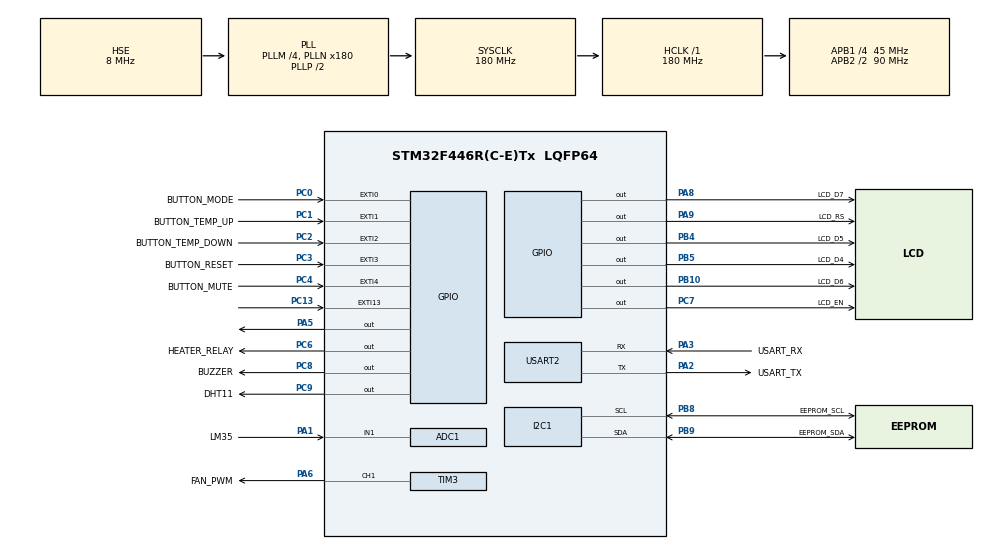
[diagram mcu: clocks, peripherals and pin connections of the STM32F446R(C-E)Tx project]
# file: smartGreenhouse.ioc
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ADC1.Channel-0\#ChannelRegularConversion=ADC_CHANNEL_1
ADC1.ContinuousConvMode=DISABLE
ADC1.DMAContinuousRequests=ENABLE
ADC1.ExternalTrigConv=ADC_EXTERNALTRIGCONV_T2_TRGO
ADC1.NbrOfConversion=1
ADC1.NbrOfConversionFlag=1
ADC1.Rank-0\#ChannelRegularConversion=1
ADC1.SamplingTime-0\#ChannelRegularConversion=ADC_SAMPLETIME_84CYCLES
ADC1.master=1
Dma.ADC1.0.Direction=DMA_PERIPH_TO_MEMORY
Dma.ADC1.0.FIFOMode=DMA_FIFOMODE_DISABLE
Dma.ADC1.0.Instance=DMA2_Stream0
Dma.ADC1.0.MemDataAlignment=DMA_MDATAALIGN_HALFWORD
Dma.ADC1.0.MemInc=DMA_MINC_ENABLE
Dma.ADC1.0.Mode=DMA_CIRCULAR
Dma.ADC1.0.PeriphDataAlignment=DMA_PDATAALIGN_HALFWORD
Dma.ADC1.0.PeriphInc=DMA_PINC_DISABLE
Dma.ADC1.0.Priority=DMA_PRIORITY_LOW
Dma.Request0=ADC1
Dma.Request1=USART2_RX
Dma.USART2_RX.1.Direction=DMA_PERIPH_TO_MEMORY
Dma.USART2_RX.1.FIFOMode=DMA_FIFOMODE_DISABLE
Dma.USART2_RX.1.Instance=DMA1_Stream5
Dma.USART2_RX.1.MemDataAlignment=DMA_MDATAALIGN_BYTE
Dma.USART2_RX.1.MemInc=DMA_MINC_ENABLE
Dma.USART2_RX.1.Mode=DMA_NORMAL
Dma.USART2_RX.1.PeriphDataAlignment=DMA_PDATAALIGN_BYTE
Dma.USART2_RX.1.PeriphInc=DMA_PINC_DISABLE
Dma.USART2_RX.1.Priority=DMA_PRIORITY_LOW
Mcu.Family=STM32F4
Mcu.Name=STM32F446R(C-E)Tx
Mcu.Package=LQFP64
NUCLEO-F446RE.BUTTON=1
NUCLEO-F446RE.LD1=true
NVIC.DMA1_Stream5_IRQn=true\:0\:0\:false\:false\:true\:false\:true\:true
NVIC.DMA2_Stream0_IRQn=true\:0\:0\:false\:false\:true\:false\:true\:true
NVIC.EXTI0_IRQn=true\:0\:0\:false\:false\:true\:true\:true\:true
NVIC.EXTI15_10_IRQn=true\:0\:0\:false\:false\:true\:false\:true\:true
NVIC.EXTI1_IRQn=true\:0\:0\:false\:false\:true\:true\:true\:true
NVIC.EXTI2_IRQn=true\:0\:0\:false\:false\:true\:true\:true\:true
NVIC.EXTI3_IRQn=true\:0\:0\:false\:false\:true\:true\:true\:true
NVIC.EXTI4_IRQn=true\:0\:0\:false\:false\:true\:true\:true\:true
NVIC.PriorityGroup=NVIC_PRIORITYGROUP_0
NVIC.USART2_IRQn=true\:0\:0\:false\:false\:true\:true\:true\:true
PA1.GPIO_Label=LM35
PA1.Signal=ADCx_IN1
PA13.GPIO_Label=TMS
PA13.Mode=Serial_Wire
PA13.Signal=SYS_JTMS-SWDIO
PA14.GPIO_Label=TCK
PA14.Mode=Serial_Wire
PA14.Signal=SYS_JTCK-SWCLK
PA2.GPIO_Label=USART_TX
PA2.Mode=Asynchronous
PA2.Signal=USART2_TX
PA3.GPIO_Label=USART_RX
PA3.Mode=Asynchronous
PA3.Signal=USART2_RX
PA5.Signal=GPIO_Output
PA6.GPIO_Label=FAN_PWM
PA6.Signal=S_TIM3_CH1
PA8.GPIO_Label=LCD_D7
PA8.Signal=GPIO_Output
PA9.GPIO_Label=LCD_RS
PA9.Signal=GPIO_Output
PB10.GPIO_Label=LCD_D6
PB10.Signal=GPIO_Output
PB3.GPIO_Label=SWO
PB3.Signal=SYS_JTDO-SWO
PB4.GPIO_Label=LCD_D5
PB4.Signal=GPIO_Output
PB5.GPIO_Label=LCD_D4
PB5.Signal=GPIO_Output
PB8.GPIO_Label=EEPROM_SCL
PB8.Mode=I2C
PB8.Signal=I2C1_SCL
PB9.GPIO_Label=EEPROM_SDA
PB9.Mode=I2C
PB9.Signal=I2C1_SDA
PC0.GPIO_Label=BUTTON_MODE
PC0.GPIO_ModeDefaultEXTI=GPIO_MODE_IT_FALLING
PC0.GPIO_PuPd=GPIO_PULLUP
PC0.Signal=GPXTI0
PC1.GPIO_Label=BUTTON_TEMP_UP
PC1.GPIO_ModeDefaultEXTI=GPIO_MODE_IT_FALLING
PC1.GPIO_PuPd=GPIO_PULLUP
PC1.Signal=GPXTI1
PC13.Signal=GPXTI13
PC14-OSC32_IN.Mode=LSE-External-Oscillator
PC14-OSC32_IN.Signal=RCC_OSC32_IN
PC15-OSC32_OUT.Mode=LSE-External-Oscillator
PC15-OSC32_OUT.Signal=RCC_OSC32_OUT
PC2.GPIO_Label=BUTTON_TEMP_DOWN
PC2.GPIO_ModeDefaultEXTI=GPIO_MODE_IT_FALLING
PC2.GPIO_PuPd=GPIO_PULLUP
PC2.Signal=GPXTI2
PC3.GPIO_Label=BUTTON_RESET
PC3.GPIO_ModeDefaultEXTI=GPIO_MODE_IT_FALLING
PC3.GPIO_PuPd=GPIO_PULLUP
PC3.Signal=GPXTI3
PC4.GPIO_Label=BUTTON_MUTE
PC4.GPIO_ModeDefaultEXTI=GPIO_MODE_IT_FALLING
PC4.GPIO_PuPd=GPIO_PULLUP
PC4.Signal=GPXTI4
PC6.GPIO_Label=HEATER_RELAY
PC6.PinState=GPIO_PIN_SET
PC6.Signal=GPIO_Output
PC7.GPIO_Label=LCD_EN
PC7.Signal=GPIO_Output
PC8.GPIO_Label=BUZZER
PC8.GPIO_PuPd=GPIO_PULLUP
PC8.Signal=GPIO_Output
PC9.GPIO_Label=DHT11
PC9.GPIO_PuPd=GPIO_PULLUP
PC9.Signal=GPIO_Output
PH0-OSC_IN.Mode=HSE-External-Oscillator
PH0-OSC_IN.Signal=RCC_OSC_IN
PH1-OSC_OUT.Mode=HSE-External-Oscillator
PH1-OSC_OUT.Signal=RCC_OSC_OUT
ProjectManager.HeapSize=0x200
ProjectManager.StackSize=0x400
ProjectManager.TargetToolchain=CMake
RCC.AHBFreq_Value=180000000
RCC.APB1CLKDivider=RCC_HCLK_DIV4
RCC.APB1Freq_Value=45000000
RCC.APB1TimFreq_Value=90000000
RCC.APB2CLKDivider=RCC_HCLK_DIV2
RCC.APB2Freq_Value=90000000
RCC.APB2TimFreq_Value=180000000
RCC.CortexFreq_Value=180000000
RCC.FLatency-AdvancedSettings=FLASH_LATENCY_5
RCC.HCLKFreq_Value=180000000
RCC.HSE_VALUE=8000000
RCC.HSI_VALUE=16000000
RCC.PLLM=4
RCC.PLLN=180
RCC.PLLSourceVirtual=RCC_PLLSOURCE_HSE
RCC.SYSCLKFreq_VALUE=180000000
RCC.SYSCLKSource=RCC_SYSCLKSOURCE_PLLCLK
RCC.USBFreq_Value=180000000
RCC.VCOOutputFreq_Value=360000000
SH.ADCx_IN1.0=ADC1_IN1,IN1
SH.S_TIM3_CH1.0=TIM3_CH1,PWM Generation1 CH1
TIM2.Period=99
TIM2.Prescaler=8999
TIM2.TIM_MasterOutputTrigger=TIM_TRGO_UPDATE
TIM2.TIM_MasterSlaveMode=TIM_MASTERSLAVEMODE_DISABLE
TIM3.Channel-PWM\ Generation1\ CH1=TIM_CHANNEL_1
TIM3.Period=4499
TIM3.Prescaler=299
USART2.VirtualMode=VM_ASYNC
VP_IWDG_VS_IWDG.Mode=IWDG_Activate
VP_NUCLEO-F446RE_VS_BSP_COMMON.Mode=COMMON
VP_TIM2_VS_ClockSourceINT.Mode=Internal
VP_TIM3_VS_ClockSourceINT.Mode=Internal
board=NUCLEO-F446RE

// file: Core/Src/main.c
/* USER CODE BEGIN Header */
/**
  ******************************************************************************
  * @file           : main.c
  * @brief          : Main program body
  ******************************************************************************
  * @attention
  *
  * Copyright (c) 2026 STMicroelectronics.
  * All rights reserved.
  *
  * This software is licensed under terms that can be found in the LICENSE file
  * in the root directory of this software component.
  * If no LICENSE file comes with this software, it is provided AS-IS.
  *
  ******************************************************************************
  */
/* USER CODE END Header */
#include "main.h"

/* USER CODE BEGIN Includes */

#include <stdio.h>
#include <string.h>

#include "app.h"
#include "cli.h"

#include "sensor_lm35.h"
#include "fan.h"
#include "heater.h"
#include "lcd.h"

/* USER CODE END Includes */

ADC_HandleTypeDef hadc1;
DMA_HandleTypeDef hdma_adc1;

I2C_HandleTypeDef hi2c1;

IWDG_HandleTypeDef hiwdg;

TIM_HandleTypeDef htim2;
TIM_HandleTypeDef htim3;

UART_HandleTypeDef huart2;
DMA_HandleTypeDef hdma_usart2_rx;

/* USER CODE BEGIN PV */

volatile uint32_t adc_half_callback_count = 0U;
volatile uint32_t adc_complete_callback_count = 0U;

/* USER CODE END PV */

void SystemClock_Config(void);
static void MX_GPIO_Init(void);
static void MX_DMA_Init(void);
static void MX_ADC1_Init(void);
static void MX_I2C1_Init(void);
static void MX_TIM3_Init(void);
static void MX_USART2_UART_Init(void);
static void MX_TIM2_Init(void);
static void MX_IWDG_Init(void);

int main(void)
{

  /* MCU Configuration--------------------------------------------------------*/

  /* Reset of all peripherals, Initializes the Flash interface and the Systick. */
  HAL_Init();

  /* Configure the system clock */
  SystemClock_Config();

  /* Initialize all configured peripherals */
  MX_GPIO_Init();
  MX_DMA_Init();
  MX_ADC1_Init();
  MX_I2C1_Init();
  MX_TIM3_Init();
  MX_USART2_UART_Init();
  MX_TIM2_Init();
  MX_IWDG_Init();

  /* USER CODE BEGIN 2 */

HAL_StatusTypeDef app_status;

app_status = App_Init(
    &hadc1,
    &htim3,
    &huart2,
    &hiwdg,
    &htim2,
    NULL,
    NULL
);

if (app_status != HAL_OK)
{
    Heater_SafeOff();
    Fan_SafeOff();

    LCD_Clear();
    LCD_SetCursor(0U, 0U);
    LCD_Print("APP INIT ERROR");

    while (1)
    {
    }
}

app_status = App_Start();

if (app_status != HAL_OK)
{
    Heater_SafeOff();
    Fan_SafeOff();

    LCD_Clear();
    LCD_SetCursor(0U, 0U);
    LCD_Print("APP START ERROR");

    while (1)
    {
    }
}

  /* USER CODE END 2 */

  /* Initialize leds */
  BSP_LED_Init(LED2);

  /* Initialize USER push-button, will be used to trigger an interrupt each time it's pressed.*/
  BSP_PB_Init(BUTTON_USER, BUTTON_MODE_EXTI);

  /* Infinite loop */
  /* USER CODE BEGIN WHILE */
  while (1)
  {
    App_Process();

    //HAL_IWDG_Refresh(&hiwdg);

    /* USER CODE END WHILE */

  }
}

void SystemClock_Config(void)
{
  RCC_OscInitTypeDef RCC_OscInitStruct = {0};
  RCC_ClkInitTypeDef RCC_ClkInitStruct = {0};

  /** Configure the main internal regulator output voltage
  */
  __HAL_RCC_PWR_CLK_ENABLE();
  __HAL_PWR_VOLTAGESCALING_CONFIG(PWR_REGULATOR_VOLTAGE_SCALE1);

  /** Initializes the RCC Oscillators according to the specified parameters
  * in the RCC_OscInitTypeDef structure.
  */
  RCC_OscInitStruct.OscillatorType = RCC_OSCILLATORTYPE_LSI|RCC_OSCILLATORTYPE_HSE;
  RCC_OscInitStruct.HSEState = RCC_HSE_ON;
  RCC_OscInitStruct.LSIState = RCC_LSI_ON;
  RCC_OscInitStruct.PLL.PLLState = RCC_PLL_ON;
  RCC_OscInitStruct.PLL.PLLSource = RCC_PLLSOURCE_HSE;
  RCC_OscInitStruct.PLL.PLLM = 4;
  RCC_OscInitStruct.PLL.PLLN = 180;
  RCC_OscInitStruct.PLL.PLLP = RCC_PLLP_DIV2;
  RCC_OscInitStruct.PLL.PLLQ = 2;
  RCC_OscInitStruct.PLL.PLLR = 2;
  if (HAL_RCC_OscConfig(&RCC_OscInitStruct) != HAL_OK)
  {
    Error_Handler();
  }

  /** Activate the Over-Drive mode
  */
  if (HAL_PWREx_EnableOverDrive() != HAL_OK)
  {
    Error_Handler();
  }

  /** Initializes the CPU, AHB and APB buses clocks
  */
  RCC_ClkInitStruct.ClockType = RCC_CLOCKTYPE_HCLK|RCC_CLOCKTYPE_SYSCLK
                              |RCC_CLOCKTYPE_PCLK1|RCC_CLOCKTYPE_PCLK2;
  RCC_ClkInitStruct.SYSCLKSource = RCC_SYSCLKSOURCE_PLLCLK;
  RCC_ClkInitStruct.AHBCLKDivider = RCC_SYSCLK_DIV1;
  RCC_ClkInitStruct.APB1CLKDivider = RCC_HCLK_DIV4;
  RCC_ClkInitStruct.APB2CLKDivider = RCC_HCLK_DIV2;

  if (HAL_RCC_ClockConfig(&RCC_ClkInitStruct, FLASH_LATENCY_5) != HAL_OK)
  {
    Error_Handler();
  }
}

static void MX_ADC1_Init(void)
{

  ADC_ChannelConfTypeDef sConfig = {0};

  /** Configure the global features of the ADC (Clock, Resolution, Data Alignment and number of conversion)
  */
  hadc1.Instance = ADC1;
  hadc1.Init.ClockPrescaler = ADC_CLOCK_SYNC_PCLK_DIV4;
  hadc1.Init.Resolution = ADC_RESOLUTION_12B;
  hadc1.Init.ScanConvMode = DISABLE;
  hadc1.Init.ContinuousConvMode = DISABLE;
  hadc1.Init.DiscontinuousConvMode = DISABLE;
  hadc1.Init.ExternalTrigConvEdge = ADC_EXTERNALTRIGCONVEDGE_RISING;
  hadc1.Init.ExternalTrigConv = ADC_EXTERNALTRIGCONV_T2_TRGO;
  hadc1.Init.DataAlign = ADC_DATAALIGN_RIGHT;
  hadc1.Init.NbrOfConversion = 1;
  hadc1.Init.DMAContinuousRequests = ENABLE;
  hadc1.Init.EOCSelection = ADC_EOC_SINGLE_CONV;
  if (HAL_ADC_Init(&hadc1) != HAL_OK)
  {
    Error_Handler();
  }

  /** Configure for the selected ADC regular channel its corresponding rank in the sequencer and its sample time.
  */
  sConfig.Channel = ADC_CHANNEL_1;
  sConfig.Rank = 1;
  sConfig.SamplingTime = ADC_SAMPLETIME_84CYCLES;
  if (HAL_ADC_ConfigChannel(&hadc1, &sConfig) != HAL_OK)
  {
    Error_Handler();
  }

}

static void MX_I2C1_Init(void)
{

  hi2c1.Instance = I2C1;
  hi2c1.Init.ClockSpeed = 100000;
  hi2c1.Init.DutyCycle = I2C_DUTYCYCLE_2;
  hi2c1.Init.OwnAddress1 = 0;
  hi2c1.Init.AddressingMode = I2C_ADDRESSINGMODE_7BIT;
  hi2c1.Init.DualAddressMode = I2C_DUALADDRESS_DISABLE;
  hi2c1.Init.OwnAddress2 = 0;
  hi2c1.Init.GeneralCallMode = I2C_GENERALCALL_DISABLE;
  hi2c1.Init.NoStretchMode = I2C_NOSTRETCH_DISABLE;
  if (HAL_I2C_Init(&hi2c1) != HAL_OK)
  {
    Error_Handler();
  }

}

static void MX_IWDG_Init(void)
{

  hiwdg.Instance = IWDG;
  hiwdg.Init.Prescaler = IWDG_PRESCALER_4;
  hiwdg.Init.Reload = 4095;
  if (HAL_IWDG_Init(&hiwdg) != HAL_OK)
  {
    Error_Handler();
  }

}

static void MX_TIM2_Init(void)
{

  TIM_ClockConfigTypeDef sClockSourceConfig = {0};
  TIM_MasterConfigTypeDef sMasterConfig = {0};

  htim2.Instance = TIM2;
  htim2.Init.Prescaler = 8999;
  htim2.Init.CounterMode = TIM_COUNTERMODE_UP;
  htim2.Init.Period = 99;
  htim2.Init.ClockDivision = TIM_CLOCKDIVISION_DIV1;
  htim2.Init.AutoReloadPreload = TIM_AUTORELOAD_PRELOAD_DISABLE;
  if (HAL_TIM_Base_Init(&htim2) != HAL_OK)
  {
    Error_Handler();
  }
  sClockSourceConfig.ClockSource = TIM_CLOCKSOURCE_INTERNAL;
  if (HAL_TIM_ConfigClockSource(&htim2, &sClockSourceConfig) != HAL_OK)
  {
    Error_Handler();
  }
  sMasterConfig.MasterOutputTrigger = TIM_TRGO_UPDATE;
  sMasterConfig.MasterSlaveMode = TIM_MASTERSLAVEMODE_DISABLE;
  if (HAL_TIMEx_MasterConfigSynchronization(&htim2, &sMasterConfig) != HAL_OK)
  {
    Error_Handler();
  }

}

static void MX_TIM3_Init(void)
{

  TIM_ClockConfigTypeDef sClockSourceConfig = {0};
  TIM_MasterConfigTypeDef sMasterConfig = {0};
  TIM_OC_InitTypeDef sConfigOC = {0};

  htim3.Instance = TIM3;
  htim3.Init.Prescaler = 99;
  htim3.Init.CounterMode = TIM_COUNTERMODE_UP;
  htim3.Init.Period = 4499;
  htim3.Init.ClockDivision = TIM_CLOCKDIVISION_DIV1;
  htim3.Init.AutoReloadPreload = TIM_AUTORELOAD_PRELOAD_DISABLE;
  if (HAL_TIM_Base_Init(&htim3) != HAL_OK)
  {
    Error_Handler();
  }
  sClockSourceConfig.ClockSource = TIM_CLOCKSOURCE_INTERNAL;
  if (HAL_TIM_ConfigClockSource(&htim3, &sClockSourceConfig) != HAL_OK)
  {
    Error_Handler();
  }
  if (HAL_TIM_PWM_Init(&htim3) != HAL_OK)
  {
    Error_Handler();
  }
  sMasterConfig.MasterOutputTrigger = TIM_TRGO_RESET;
  sMasterConfig.MasterSlaveMode = TIM_MASTERSLAVEMODE_DISABLE;
  if (HAL_TIMEx_MasterConfigSynchronization(&htim3, &sMasterConfig) != HAL_OK)
  {
    Error_Handler();
  }
  sConfigOC.OCMode = TIM_OCMODE_PWM1;
  sConfigOC.Pulse = 0;
  sConfigOC.OCPolarity = TIM_OCPOLARITY_HIGH;
  sConfigOC.OCFastMode = TIM_OCFAST_DISABLE;
  if (HAL_TIM_PWM_ConfigChannel(&htim3, &sConfigOC, TIM_CHANNEL_1) != HAL_OK)
  {
    Error_Handler();
  }
  HAL_TIM_MspPostInit(&htim3);

}

static void MX_USART2_UART_Init(void)
{

  huart2.Instance = USART2;
  huart2.Init.BaudRate = 115200;
  huart2.Init.WordLength = UART_WORDLENGTH_8B;
  huart2.Init.StopBits = UART_STOPBITS_1;
  huart2.Init.Parity = UART_PARITY_NONE;
  huart2.Init.Mode = UART_MODE_TX_RX;
  huart2.Init.HwFlowCtl = UART_HWCONTROL_NONE;
  huart2.Init.OverSampling = UART_OVERSAMPLING_16;
  if (HAL_UART_Init(&huart2) != HAL_OK)
  {
    Error_Handler();
  }

}

static void MX_DMA_Init(void)
{

  /* DMA controller clock enable */
  __HAL_RCC_DMA2_CLK_ENABLE();
  __HAL_RCC_DMA1_CLK_ENABLE();

  /* DMA interrupt init */
  /* DMA1_Stream5_IRQn interrupt configuration */
  HAL_NVIC_SetPriority(DMA1_Stream5_IRQn, 0, 0);
  HAL_NVIC_EnableIRQ(DMA1_Stream5_IRQn);
  /* DMA2_Stream0_IRQn interrupt configuration */
  HAL_NVIC_SetPriority(DMA2_Stream0_IRQn, 0, 0);
  HAL_NVIC_EnableIRQ(DMA2_Stream0_IRQn);

}

static void MX_GPIO_Init(void)
{
  GPIO_InitTypeDef GPIO_InitStruct = {0};

  /* GPIO Ports Clock Enable */
  __HAL_RCC_GPIOC_CLK_ENABLE();
  __HAL_RCC_GPIOH_CLK_ENABLE();
  __HAL_RCC_GPIOA_CLK_ENABLE();
  __HAL_RCC_GPIOB_CLK_ENABLE();

  /*Configure GPIO pin Output Level */
  HAL_GPIO_WritePin(GPIOB, LCD_D6_Pin|LCD_D5_Pin|GPIO_PIN_5, GPIO_PIN_RESET);

  /*Configure GPIO pin Output Level */
  HAL_GPIO_WritePin(HEATER_RELAY_GPIO_Port, HEATER_RELAY_Pin, GPIO_PIN_SET);

  /*Configure GPIO pin Output Level */
  HAL_GPIO_WritePin(GPIOC, LCD_EN_Pin|BUZZER_Pin|DHT11_Pin, GPIO_PIN_RESET);

  /*Configure GPIO pin Output Level */
  HAL_GPIO_WritePin(GPIOA, LCD_D7_Pin|LCD_RS_Pin, GPIO_PIN_RESET);

  /*Configure GPIO pins : BUTTON_MODE_Pin BUTTON_TEMP_UP_Pin BUTTON_TEMP_DOWN_Pin BUTTON_RESET_Pin
                           BUTTON_MUTE_Pin */
  GPIO_InitStruct.Pin = BUTTON_MODE_Pin|BUTTON_TEMP_UP_Pin|BUTTON_TEMP_DOWN_Pin|BUTTON_RESET_Pin
                          |BUTTON_MUTE_Pin;
  GPIO_InitStruct.Mode = GPIO_MODE_IT_FALLING;
  GPIO_InitStruct.Pull = GPIO_PULLUP;
  HAL_GPIO_Init(GPIOC, &GPIO_InitStruct);

  /*Configure GPIO pins : LCD_D6_Pin LCD_D5_Pin PB5 */
  GPIO_InitStruct.Pin = LCD_D6_Pin|LCD_D5_Pin|GPIO_PIN_5;
  GPIO_InitStruct.Mode = GPIO_MODE_OUTPUT_PP;
  GPIO_InitStruct.Pull = GPIO_NOPULL;
  GPIO_InitStruct.Speed = GPIO_SPEED_FREQ_LOW;
  HAL_GPIO_Init(GPIOB, &GPIO_InitStruct);

  /*Configure GPIO pins : HEATER_RELAY_Pin LCD_EN_Pin */
  GPIO_InitStruct.Pin = HEATER_RELAY_Pin|LCD_EN_Pin;
  GPIO_InitStruct.Mode = GPIO_MODE_OUTPUT_PP;
  GPIO_InitStruct.Pull = GPIO_NOPULL;
  GPIO_InitStruct.Speed = GPIO_SPEED_FREQ_LOW;
  HAL_GPIO_Init(GPIOC, &GPIO_InitStruct);

  /*Configure GPIO pins : BUZZER_Pin DHT11_Pin */
  GPIO_InitStruct.Pin = BUZZER_Pin|DHT11_Pin;
  GPIO_InitStruct.Mode = GPIO_MODE_OUTPUT_PP;
  GPIO_InitStruct.Pull = GPIO_PULLUP;
  GPIO_InitStruct.Speed = GPIO_SPEED_FREQ_LOW;
  HAL_GPIO_Init(GPIOC, &GPIO_InitStruct);

  /*Configure GPIO pins : LCD_D7_Pin LCD_RS_Pin */
  GPIO_InitStruct.Pin = LCD_D7_Pin|LCD_RS_Pin;
  GPIO_InitStruct.Mode = GPIO_MODE_OUTPUT_PP;
  GPIO_InitStruct.Pull = GPIO_NOPULL;
  GPIO_InitStruct.Speed = GPIO_SPEED_FREQ_LOW;
  HAL_GPIO_Init(GPIOA, &GPIO_InitStruct);

  /* EXTI interrupt init*/
  HAL_NVIC_SetPriority(EXTI0_IRQn, 0, 0);
  HAL_NVIC_EnableIRQ(EXTI0_IRQn);

  HAL_NVIC_SetPriority(EXTI1_IRQn, 0, 0);
  HAL_NVIC_EnableIRQ(EXTI1_IRQn);

  HAL_NVIC_SetPriority(EXTI2_IRQn, 0, 0);
  HAL_NVIC_EnableIRQ(EXTI2_IRQn);

  HAL_NVIC_SetPriority(EXTI3_IRQn, 0, 0);
  HAL_NVIC_EnableIRQ(EXTI3_IRQn);

  HAL_NVIC_SetPriority(EXTI4_IRQn, 0, 0);
  HAL_NVIC_EnableIRQ(EXTI4_IRQn);

}

/* USER CODE BEGIN 4 */

void HAL_ADC_ConvHalfCpltCallback(ADC_HandleTypeDef *hadc)
{
    if (hadc == &hadc1)
    {
        adc_half_callback_count++;

        Sensor_DMA_HalfCompleteCallback();
    }
}

void HAL_ADC_ConvCpltCallback(ADC_HandleTypeDef *hadc)
{
    if (hadc == &hadc1)
    {
        adc_complete_callback_count++;

        Sensor_DMA_CompleteCallback();
    }
}

void HAL_UART_RxCpltCallback(UART_HandleTypeDef *huart)
{
    if (huart == &huart2)
    {
        CLI_UART_RxCpltCallback();
    }
}

/* USER CODE END 4 */

void Error_Handler(void)
{
  __disable_irq();
  while (1)
  {
  }
}
